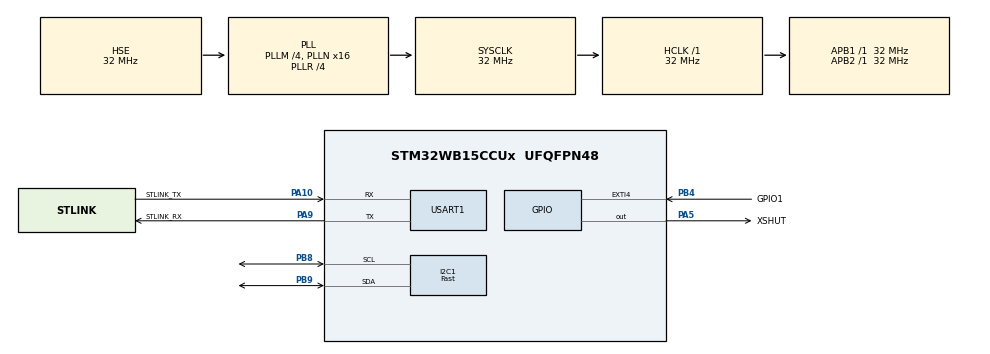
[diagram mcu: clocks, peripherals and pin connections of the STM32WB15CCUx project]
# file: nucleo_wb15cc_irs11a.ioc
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I2C1.I2C_Speed_Mode=I2C_Fast
I2C1.Timing=0x0060112F
Mcu.Family=STM32WB
Mcu.Name=STM32WB15CCUx
Mcu.Package=UFQFPN48
NVIC.PriorityGroup=NVIC_PRIORITYGROUP_4
OSC_IN.GPIO_Label=RCC_OSC_IN
OSC_IN.Mode=HSE-External-Oscillator
OSC_IN.Signal=RCC_OSC_IN
OSC_OUT.GPIO_Label=RCC_OSC_OUT
OSC_OUT.Mode=HSE-External-Oscillator
OSC_OUT.Signal=RCC_OSC_OUT
PA10.GPIO_Label=STLINK_TX
PA10.Mode=Asynchronous
PA10.Signal=USART1_RX
PA13.GPIO_Label=JTMS
PA13.Mode=Trace_Asynchronous_SW
PA13.Signal=SYS_JTMS-SWDIO
PA14.GPIO_Label=JTCK
PA14.Mode=Trace_Asynchronous_SW
PA14.Signal=SYS_JTCK-SWCLK
PA5.GPIO_Label=XSHUT
PA5.PinState=GPIO_PIN_SET
PA5.Signal=GPIO_Output
PA9.GPIO_Label=STLINK_RX
PA9.Mode=Asynchronous
PA9.Signal=USART1_TX
PB3.GPIO_Label=JTDO
PB3.Mode=Trace_Asynchronous_SW
PB3.Signal=SYS_JTDO-SWO
PB4.GPIO_Label=GPIO1
PB4.Signal=GPXTI4
PB8.Mode=I2C
PB8.Signal=I2C1_SCL
PB9.Mode=I2C
PB9.Signal=I2C1_SDA
PC14-OSC32_IN.GPIO_Label=RCC_OSC32_IN
PC14-OSC32_IN.Mode=LSE-External-Oscillator
PC14-OSC32_IN.Signal=RCC_OSC32_IN
PC15-OSC32_OUT.GPIO_Label=RCC_OSC32_OUT
PC15-OSC32_OUT.Mode=LSE-External-Oscillator
PC15-OSC32_OUT.Signal=RCC_OSC32_OUT
ProjectManager.HeapSize=0x200
ProjectManager.StackSize=0x400
ProjectManager.TargetToolchain=STM32CubeIDE
RCC.AHBFreq_Value=32000000
RCC.APB1Freq_Value=32000000
RCC.APB1TimFreq_Value=32000000
RCC.APB2Freq_Value=32000000
RCC.APB2TimFreq_Value=32000000
RCC.APB3Freq_Value=16000000
RCC.CortexFreq_Value=32000000
RCC.HCLKFreq_Value=32000000
RCC.HSE_VALUE=32000000
RCC.HSI_VALUE=16000000
RCC.PLLM=RCC_PLLM_DIV4
RCC.PLLN=16
RCC.PLLR=RCC_PLLR_DIV4
RCC.PLLSourceVirtual=RCC_PLLSOURCE_HSE
RCC.SYSCLKFreq_VALUE=32000000
RCC.SYSCLKSource=RCC_SYSCLKSOURCE_PLLCLK
RCC.VCOOutputFreq_Value=128000000
USART1.VirtualMode-Asynchronous=VM_ASYNC
VP_MEMORYMAP_VS_MEMORYMAP.Mode=CurAppReg
board=NUCLEO-WB15CC

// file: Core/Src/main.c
/* USER CODE BEGIN Header */
/**
 ******************************************************************************
 * @file           : main.c
 * @brief          : Main program body
 ******************************************************************************
 * @attention
 *
 * Copyright (c) 2025 STMicroelectronics.
 * All rights reserved.
 *
 * This software is licensed under terms that can be found in the LICENSE file
 * in the root directory of this software component.
 * If no LICENSE file comes with this software, it is provided AS-IS.
 *
 ******************************************************************************
 */
/* USER CODE END Header */
#include "main.h"
#include "i2c.h"
#include "memorymap.h"
#include "usart.h"
#include "gpio.h"

/* USER CODE BEGIN Includes */
#include <stdio.h>

#include "VL53L0X.h"
/* USER CODE END Includes */

void SystemClock_Config(void);
void PeriphCommonClock_Config(void);

/* USER CODE BEGIN 0 */
int __io_putchar(int chr)
{
	HAL_UART_Transmit(&huart1, (uint8_t *)&chr, 1, HAL_MAX_DELAY);
	return chr;
}

/* USER CODE END 0 */

int main(void)
{

	/* MCU Configuration--------------------------------------------------------*/

	/* Reset of all peripherals, Initializes the Flash interface and the Systick. */
	HAL_Init();

	/* Configure the system clock */
	SystemClock_Config();

	/* Configure the peripherals common clocks */
	PeriphCommonClock_Config();

	/* Initialize all configured peripherals */
	MX_GPIO_Init();
	MX_USART1_UART_Init();
	MX_I2C1_Init();
	/* USER CODE BEGIN 2 */
	printf("\r\n===== TOF IRS11A VL53L0X =====\r\n");
	// Initialise the VL53L0X
	statInfo_t_VL53L0X distanceStr;
	initVL53L0X(1, &hi2c1);

	// Configure the sensor for high accuracy and speed in 20 cm.
	setSignalRateLimit(200);
	setVcselPulsePeriod(VcselPeriodPreRange, 10);
	setVcselPulsePeriod(VcselPeriodFinalRange, 14);
	setMeasurementTimingBudget(300 * 1000UL);

	uint16_t distance;

	startContinuous(0);
	/* USER CODE END 2 */

	/* Infinite loop */
	/* USER CODE BEGIN WHILE */
	while (1)
	{
		// uint16_t distance is the distance in millimeters.
		// statInfo_t_VL53L0X distanceStr is the statistics read from the sensor.
//		distance = readRangeSingleMillimeters(&distanceStr);
//
//		printf("Distance: %d\r\n", distance);
//
//		HAL_Delay(1000);

		distance = readRangeContinuousMillimeters(&distanceStr);
		printf("Distance: %d\r\n", distance);

		/* USER CODE END WHILE */

	}
}

void SystemClock_Config(void)
{
	RCC_OscInitTypeDef RCC_OscInitStruct = {0};
	RCC_ClkInitTypeDef RCC_ClkInitStruct = {0};

	/** Initializes the RCC Oscillators according to the specified parameters
	 * in the RCC_OscInitTypeDef structure.
	 */
	RCC_OscInitStruct.OscillatorType = RCC_OSCILLATORTYPE_HSI|RCC_OSCILLATORTYPE_HSE;
	RCC_OscInitStruct.HSEState = RCC_HSE_ON;
	RCC_OscInitStruct.HSIState = RCC_HSI_ON;
	RCC_OscInitStruct.HSICalibrationValue = RCC_HSICALIBRATION_DEFAULT;
	RCC_OscInitStruct.PLL.PLLState = RCC_PLL_ON;
	RCC_OscInitStruct.PLL.PLLSource = RCC_PLLSOURCE_HSE;
	RCC_OscInitStruct.PLL.PLLM = RCC_PLLM_DIV4;
	RCC_OscInitStruct.PLL.PLLN = 16;
	RCC_OscInitStruct.PLL.PLLP = RCC_PLLP_DIV2;
	RCC_OscInitStruct.PLL.PLLR = RCC_PLLR_DIV4;
	RCC_OscInitStruct.PLL.PLLQ = RCC_PLLQ_DIV2;
	if (HAL_RCC_OscConfig(&RCC_OscInitStruct) != HAL_OK)
	{
		Error_Handler();
	}

	/** Configure the SYSCLKSource, HCLK, PCLK1 and PCLK2 clocks dividers
	 */
	RCC_ClkInitStruct.ClockType = RCC_CLOCKTYPE_HCLK4|RCC_CLOCKTYPE_HCLK2
			|RCC_CLOCKTYPE_HCLK|RCC_CLOCKTYPE_SYSCLK
			|RCC_CLOCKTYPE_PCLK1|RCC_CLOCKTYPE_PCLK2;
	RCC_ClkInitStruct.SYSCLKSource = RCC_SYSCLKSOURCE_PLLCLK;
	RCC_ClkInitStruct.AHBCLKDivider = RCC_SYSCLK_DIV1;
	RCC_ClkInitStruct.APB1CLKDivider = RCC_HCLK_DIV1;
	RCC_ClkInitStruct.APB2CLKDivider = RCC_HCLK_DIV1;
	RCC_ClkInitStruct.AHBCLK2Divider = RCC_SYSCLK_DIV1;
	RCC_ClkInitStruct.AHBCLK4Divider = RCC_SYSCLK_DIV1;

	if (HAL_RCC_ClockConfig(&RCC_ClkInitStruct, FLASH_LATENCY_1) != HAL_OK)
	{
		Error_Handler();
	}
}

void PeriphCommonClock_Config(void)
{
	RCC_PeriphCLKInitTypeDef PeriphClkInitStruct = {0};

	/** Initializes the peripherals clock
	 */
	PeriphClkInitStruct.PeriphClockSelection = RCC_PERIPHCLK_SMPS;
	PeriphClkInitStruct.SmpsClockSelection = RCC_SMPSCLKSOURCE_HSI;
	PeriphClkInitStruct.SmpsDivSelection = RCC_SMPSCLKDIV_RANGE1;

	if (HAL_RCCEx_PeriphCLKConfig(&PeriphClkInitStruct) != HAL_OK)
	{
		Error_Handler();
	}
}

void Error_Handler(void)
{
	__disable_irq();
	while (1)
	{
	}
}
